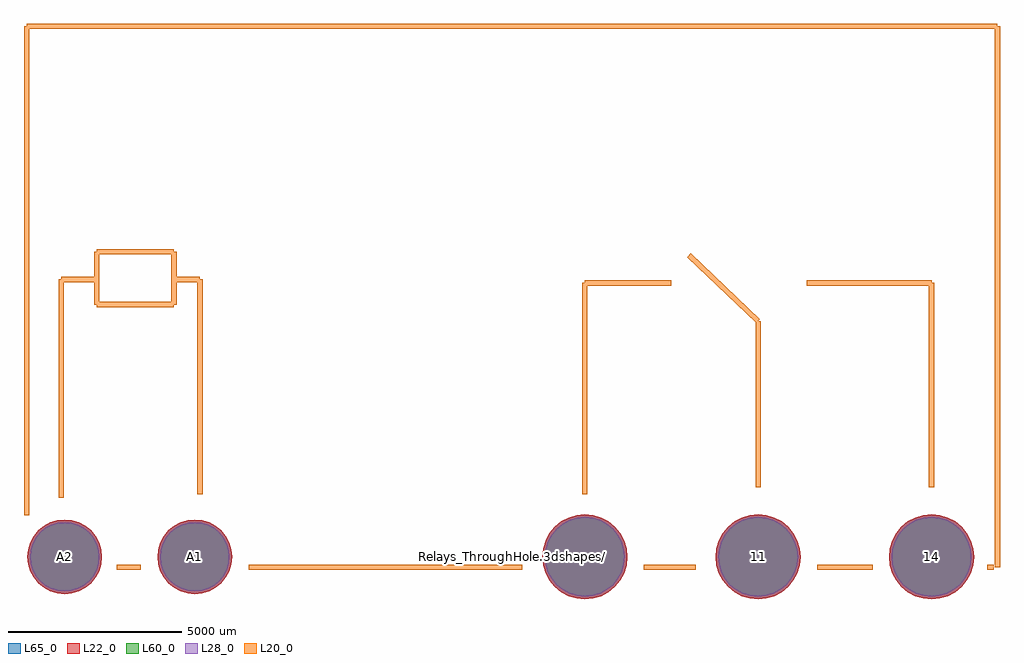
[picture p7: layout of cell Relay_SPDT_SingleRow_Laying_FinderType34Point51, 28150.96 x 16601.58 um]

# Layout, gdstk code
import gdstk
lib = gdstk.Library(unit=1e-6, precision=1e-09)
def P(c, l, *ps):  # polygons
    for p in ps: c.add(gdstk.Polygon(p, *l))
L20_0 = (20, 0)
L22_0 = (22, 0)
L28_0 = (28, 0)
L60_0 = (60, 0)
L65_0 = (65, 0)

relay_spdt_singlerow_lay = lib.new_cell('Relay_SPDT_SingleRow_Laying_FinderType34Point51')
P(relay_spdt_singlerow_lay, L22_0, [(-11826.17,0),(-11846.816,209.623),(-11907.961,411.19),(-12007.254,596.955),(-12140.881,759.779),(-12303.705,893.406),(-12489.47,992.699),(-12691.037,1053.844),(-12900.66,1074.49),(-13110.283,1053.844),(-13311.85,992.699),(-13497.615,893.406),(-13660.439,759.779),(-13794.066,596.955),(-13893.359,411.19),(-13954.504,209.623),(-13975.15,0),(-13954.504,-209.623),(-13893.359,-411.19),(-13794.066,-596.955),(-13660.439,-759.779),(-13497.615,-893.406),(-13311.85,-992.699),(-13110.283,-1053.844),(-12900.66,-1074.49),(-12691.037,-1053.844),(-12489.47,-992.699),(-12303.705,-893.406),(-12140.881,-759.779),(-12007.254,-596.955),(-11907.961,-411.19),(-11846.816,-209.623)],
  [(-8074.59,0),(-8095.236,209.623),(-8156.381,411.19),(-8255.674,596.955),(-8389.301,759.779),(-8552.125,893.406),(-8737.89,992.699),(-8939.457,1053.844),(-9149.08,1074.49),(-9358.703,1053.844),(-9560.27,992.699),(-9746.035,893.406),(-9908.859,759.779),(-10042.486,596.955),(-10141.779,411.19),(-10202.924,209.623),(-10223.57,0),(-10202.924,-209.623),(-10141.779,-411.19),(-10042.486,-596.955),(-9908.859,-759.779),(-9746.035,-893.406),(-9560.27,-992.699),(-9358.703,-1053.844),(-9149.08,-1074.49),(-8939.457,-1053.844),(-8737.89,-992.699),(-8552.125,-893.406),(-8389.301,-759.779),(-8255.674,-596.955),(-8156.381,-411.19),(-8095.236,-209.623)],
  [(3326.2,0),(3302.65,239.107),(3232.905,469.024),(3119.646,680.918),(2967.224,866.644),(2781.498,1019.066),(2569.604,1132.325),(2339.687,1202.07),(2100.58,1225.62),(1861.473,1202.07),(1631.556,1132.325),(1419.662,1019.066),(1233.936,866.644),(1081.514,680.918),(968.255,469.024),(898.51,239.107),(874.96,0),(898.51,-239.107),(968.255,-469.024),(1081.514,-680.918),(1233.936,-866.644),(1419.662,-1019.066),(1631.556,-1132.325),(1861.473,-1202.07),(2100.58,-1225.62),(2339.687,-1202.07),(2569.604,-1132.325),(2781.498,-1019.066),(2967.224,-866.644),(3119.646,-680.918),(3232.905,-469.024),(3302.65,-239.107)],
  [(8324.92,0),(8301.37,239.107),(8231.625,469.024),(8118.366,680.918),(7965.944,866.644),(7780.218,1019.066),(7568.324,1132.325),(7338.407,1202.07),(7099.3,1225.62),(6860.193,1202.07),(6630.276,1132.325),(6418.382,1019.066),(6232.656,866.644),(6080.234,680.918),(5966.975,469.024),(5897.23,239.107),(5873.68,0),(5897.23,-239.107),(5966.975,-469.024),(6080.234,-680.918),(6232.656,-866.644),(6418.382,-1019.066),(6630.276,-1132.325),(6860.193,-1202.07),(7099.3,-1225.62),(7338.407,-1202.07),(7568.324,-1132.325),(7780.218,-1019.066),(7965.944,-866.644),(8118.366,-680.918),(8231.625,-469.024),(8301.37,-239.107)],
  [(13326.18,0),(13302.63,239.107),(13232.885,469.024),(13119.626,680.918),(12967.204,866.644),(12781.478,1019.066),(12569.584,1132.325),(12339.667,1202.07),(12100.56,1225.62),(11861.453,1202.07),(11631.536,1132.325),(11419.642,1019.066),(11233.916,866.644),(11081.494,680.918),(10968.235,469.024),(10898.49,239.107),(10874.94,0),(10898.49,-239.107),(10968.235,-469.024),(11081.494,-680.918),(11233.916,-866.644),(11419.642,-1019.066),(11631.536,-1132.325),(11861.453,-1202.07),(12100.56,-1225.62),(12339.667,-1202.07),(12569.584,-1132.325),(12781.478,-1019.066),(12967.204,-866.644),(13119.626,-680.918),(13232.885,-469.024),(13302.63,-239.107)])
P(relay_spdt_singlerow_lay, L28_0, [(-11901.17,0),(-11920.375,194.991),(-11977.252,382.488),(-12069.614,555.287),(-12193.914,706.746),(-12345.373,831.046),(-12518.172,923.408),(-12705.669,980.285),(-12900.66,999.49),(-13095.651,980.285),(-13283.148,923.408),(-13455.947,831.046),(-13607.406,706.746),(-13731.706,555.287),(-13824.068,382.488),(-13880.945,194.991),(-13900.15,0),(-13880.945,-194.991),(-13824.068,-382.488),(-13731.706,-555.287),(-13607.406,-706.746),(-13455.947,-831.046),(-13283.148,-923.408),(-13095.651,-980.285),(-12900.66,-999.49),(-12705.669,-980.285),(-12518.172,-923.408),(-12345.373,-831.046),(-12193.914,-706.746),(-12069.614,-555.287),(-11977.252,-382.488),(-11920.375,-194.991)],
  [(-8149.59,0),(-8168.795,194.991),(-8225.672,382.488),(-8318.034,555.287),(-8442.334,706.746),(-8593.793,831.046),(-8766.592,923.408),(-8954.089,980.285),(-9149.08,999.49),(-9344.071,980.285),(-9531.568,923.408),(-9704.367,831.046),(-9855.826,706.746),(-9980.126,555.287),(-10072.488,382.488),(-10129.365,194.991),(-10148.57,0),(-10129.365,-194.991),(-10072.488,-382.488),(-9980.126,-555.287),(-9855.826,-706.746),(-9704.367,-831.046),(-9531.568,-923.408),(-9344.071,-980.285),(-9149.08,-999.49),(-8954.089,-980.285),(-8766.592,-923.408),(-8593.793,-831.046),(-8442.334,-706.746),(-8318.034,-555.287),(-8225.672,-382.488),(-8168.795,-194.991)],
  [(3251.2,0),(3229.091,224.475),(3163.614,440.323),(3057.286,639.25),(2914.191,813.611),(2739.83,956.706),(2540.903,1063.034),(2325.055,1128.511),(2100.58,1150.62),(1876.105,1128.511),(1660.257,1063.034),(1461.33,956.706),(1286.969,813.611),(1143.874,639.25),(1037.546,440.323),(972.069,224.475),(949.96,0),(972.069,-224.475),(1037.546,-440.323),(1143.874,-639.25),(1286.969,-813.611),(1461.33,-956.706),(1660.257,-1063.034),(1876.105,-1128.511),(2100.58,-1150.62),(2325.055,-1128.511),(2540.903,-1063.034),(2739.83,-956.706),(2914.191,-813.611),(3057.286,-639.25),(3163.614,-440.323),(3229.091,-224.475)],
  [(8249.92,0),(8227.811,224.475),(8162.334,440.323),(8056.006,639.25),(7912.911,813.611),(7738.55,956.706),(7539.623,1063.034),(7323.775,1128.511),(7099.3,1150.62),(6874.825,1128.511),(6658.977,1063.034),(6460.05,956.706),(6285.689,813.611),(6142.594,639.25),(6036.266,440.323),(5970.789,224.475),(5948.68,0),(5970.789,-224.475),(6036.266,-440.323),(6142.594,-639.25),(6285.689,-813.611),(6460.05,-956.706),(6658.977,-1063.034),(6874.825,-1128.511),(7099.3,-1150.62),(7323.775,-1128.511),(7539.623,-1063.034),(7738.55,-956.706),(7912.911,-813.611),(8056.006,-639.25),(8162.334,-440.323),(8227.811,-224.475)],
  [(13251.18,0),(13229.071,224.475),(13163.594,440.323),(13057.266,639.25),(12914.171,813.611),(12739.81,956.706),(12540.883,1063.034),(12325.035,1128.511),(12100.56,1150.62),(11876.085,1128.511),(11660.237,1063.034),(11461.31,956.706),(11286.949,813.611),(11143.854,639.25),(11037.526,440.323),(10972.049,224.475),(10949.94,0),(10972.049,-224.475),(11037.526,-440.323),(11143.854,-639.25),(11286.949,-813.611),(11461.31,-956.706),(11660.237,-1063.034),(11876.085,-1128.511),(12100.56,-1150.62),(12325.035,-1128.511),(12540.883,-1063.034),(12739.81,-956.706),(12914.171,-813.611),(13057.266,-639.25),(13163.594,-440.323),(13229.071,-224.475)])
P(relay_spdt_singlerow_lay, L60_0, [(-11901.17,0),(-11920.375,194.991),(-11977.252,382.488),(-12069.614,555.287),(-12193.914,706.746),(-12345.373,831.046),(-12518.172,923.408),(-12705.669,980.285),(-12900.66,999.49),(-13095.651,980.285),(-13283.148,923.408),(-13455.947,831.046),(-13607.406,706.746),(-13731.706,555.287),(-13824.068,382.488),(-13880.945,194.991),(-13900.15,0),(-13880.945,-194.991),(-13824.068,-382.488),(-13731.706,-555.287),(-13607.406,-706.746),(-13455.947,-831.046),(-13283.148,-923.408),(-13095.651,-980.285),(-12900.66,-999.49),(-12705.669,-980.285),(-12518.172,-923.408),(-12345.373,-831.046),(-12193.914,-706.746),(-12069.614,-555.287),(-11977.252,-382.488),(-11920.375,-194.991)],
  [(-8149.59,0),(-8168.795,194.991),(-8225.672,382.488),(-8318.034,555.287),(-8442.334,706.746),(-8593.793,831.046),(-8766.592,923.408),(-8954.089,980.285),(-9149.08,999.49),(-9344.071,980.285),(-9531.568,923.408),(-9704.367,831.046),(-9855.826,706.746),(-9980.126,555.287),(-10072.488,382.488),(-10129.365,194.991),(-10148.57,0),(-10129.365,-194.991),(-10072.488,-382.488),(-9980.126,-555.287),(-9855.826,-706.746),(-9704.367,-831.046),(-9531.568,-923.408),(-9344.071,-980.285),(-9149.08,-999.49),(-8954.089,-980.285),(-8766.592,-923.408),(-8593.793,-831.046),(-8442.334,-706.746),(-8318.034,-555.287),(-8225.672,-382.488),(-8168.795,-194.991)],
  [(3251.2,0),(3229.091,224.475),(3163.614,440.323),(3057.286,639.25),(2914.191,813.611),(2739.83,956.706),(2540.903,1063.034),(2325.055,1128.511),(2100.58,1150.62),(1876.105,1128.511),(1660.257,1063.034),(1461.33,956.706),(1286.969,813.611),(1143.874,639.25),(1037.546,440.323),(972.069,224.475),(949.96,0),(972.069,-224.475),(1037.546,-440.323),(1143.874,-639.25),(1286.969,-813.611),(1461.33,-956.706),(1660.257,-1063.034),(1876.105,-1128.511),(2100.58,-1150.62),(2325.055,-1128.511),(2540.903,-1063.034),(2739.83,-956.706),(2914.191,-813.611),(3057.286,-639.25),(3163.614,-440.323),(3229.091,-224.475)],
  [(8249.92,0),(8227.811,224.475),(8162.334,440.323),(8056.006,639.25),(7912.911,813.611),(7738.55,956.706),(7539.623,1063.034),(7323.775,1128.511),(7099.3,1150.62),(6874.825,1128.511),(6658.977,1063.034),(6460.05,956.706),(6285.689,813.611),(6142.594,639.25),(6036.266,440.323),(5970.789,224.475),(5948.68,0),(5970.789,-224.475),(6036.266,-440.323),(6142.594,-639.25),(6285.689,-813.611),(6460.05,-956.706),(6658.977,-1063.034),(6874.825,-1128.511),(7099.3,-1150.62),(7323.775,-1128.511),(7539.623,-1063.034),(7738.55,-956.706),(7912.911,-813.611),(8056.006,-639.25),(8162.334,-440.323),(8227.811,-224.475)],
  [(13251.18,0),(13229.071,224.475),(13163.594,440.323),(13057.266,639.25),(12914.171,813.611),(12739.81,956.706),(12540.883,1063.034),(12325.035,1128.511),(12100.56,1150.62),(11876.085,1128.511),(11660.237,1063.034),(11461.31,956.706),(11286.949,813.611),(11143.854,639.25),(11037.526,440.323),(10972.049,224.475),(10949.94,0),(10972.049,-224.475),(11037.526,-440.323),(11143.854,-639.25),(11286.949,-813.611),(11461.31,-956.706),(11660.237,-1063.034),(11876.085,-1128.511),(12100.56,-1150.62),(12325.035,-1128.511),(12540.883,-1063.034),(12739.81,-956.706),(12914.171,-813.611),(13057.266,-639.25),(13163.594,-440.323),(13229.071,-224.475)])
P(relay_spdt_singlerow_lay, L65_0, [(-11826.17,0),(-11846.816,209.623),(-11907.961,411.19),(-12007.254,596.955),(-12140.881,759.779),(-12303.705,893.406),(-12489.47,992.699),(-12691.037,1053.844),(-12900.66,1074.49),(-13110.283,1053.844),(-13311.85,992.699),(-13497.615,893.406),(-13660.439,759.779),(-13794.066,596.955),(-13893.359,411.19),(-13954.504,209.623),(-13975.15,0),(-13954.504,-209.623),(-13893.359,-411.19),(-13794.066,-596.955),(-13660.439,-759.779),(-13497.615,-893.406),(-13311.85,-992.699),(-13110.283,-1053.844),(-12900.66,-1074.49),(-12691.037,-1053.844),(-12489.47,-992.699),(-12303.705,-893.406),(-12140.881,-759.779),(-12007.254,-596.955),(-11907.961,-411.19),(-11846.816,-209.623)],
  [(-8074.59,0),(-8095.236,209.623),(-8156.381,411.19),(-8255.674,596.955),(-8389.301,759.779),(-8552.125,893.406),(-8737.89,992.699),(-8939.457,1053.844),(-9149.08,1074.49),(-9358.703,1053.844),(-9560.27,992.699),(-9746.035,893.406),(-9908.859,759.779),(-10042.486,596.955),(-10141.779,411.19),(-10202.924,209.623),(-10223.57,0),(-10202.924,-209.623),(-10141.779,-411.19),(-10042.486,-596.955),(-9908.859,-759.779),(-9746.035,-893.406),(-9560.27,-992.699),(-9358.703,-1053.844),(-9149.08,-1074.49),(-8939.457,-1053.844),(-8737.89,-992.699),(-8552.125,-893.406),(-8389.301,-759.779),(-8255.674,-596.955),(-8156.381,-411.19),(-8095.236,-209.623)],
  [(3326.2,0),(3302.65,239.107),(3232.905,469.024),(3119.646,680.918),(2967.224,866.644),(2781.498,1019.066),(2569.604,1132.325),(2339.687,1202.07),(2100.58,1225.62),(1861.473,1202.07),(1631.556,1132.325),(1419.662,1019.066),(1233.936,866.644),(1081.514,680.918),(968.255,469.024),(898.51,239.107),(874.96,0),(898.51,-239.107),(968.255,-469.024),(1081.514,-680.918),(1233.936,-866.644),(1419.662,-1019.066),(1631.556,-1132.325),(1861.473,-1202.07),(2100.58,-1225.62),(2339.687,-1202.07),(2569.604,-1132.325),(2781.498,-1019.066),(2967.224,-866.644),(3119.646,-680.918),(3232.905,-469.024),(3302.65,-239.107)],
  [(8324.92,0),(8301.37,239.107),(8231.625,469.024),(8118.366,680.918),(7965.944,866.644),(7780.218,1019.066),(7568.324,1132.325),(7338.407,1202.07),(7099.3,1225.62),(6860.193,1202.07),(6630.276,1132.325),(6418.382,1019.066),(6232.656,866.644),(6080.234,680.918),(5966.975,469.024),(5897.23,239.107),(5873.68,0),(5897.23,-239.107),(5966.975,-469.024),(6080.234,-680.918),(6232.656,-866.644),(6418.382,-1019.066),(6630.276,-1132.325),(6860.193,-1202.07),(7099.3,-1225.62),(7338.407,-1202.07),(7568.324,-1132.325),(7780.218,-1019.066),(7965.944,-866.644),(8118.366,-680.918),(8231.625,-469.024),(8301.37,-239.107)],
  [(13326.18,0),(13302.63,239.107),(13232.885,469.024),(13119.626,680.918),(12967.204,866.644),(12781.478,1019.066),(12569.584,1132.325),(12339.667,1202.07),(12100.56,1225.62),(11861.453,1202.07),(11631.536,1132.325),(11419.642,1019.066),(11233.916,866.644),(11081.494,680.918),(10968.235,469.024),(10898.49,239.107),(10874.94,0),(10898.49,-239.107),(10968.235,-469.024),(11081.494,-680.918),(11233.916,-866.644),(11419.642,-1019.066),(11631.536,-1132.325),(11861.453,-1202.07),(12100.56,-1225.62),(12339.667,-1202.07),(12569.584,-1132.325),(12781.478,-1019.066),(12967.204,-866.644),(13119.626,-680.918),(13232.885,-469.024),(13302.63,-239.107)])
relay_spdt_singlerow_lay.add(gdstk.FlexPath([(-9751.06,7274.56),(-9751.06,8201.66)], 149.998, ends="flush", simple_path=True, layer=20, datatype=0))  # L20_0
relay_spdt_singlerow_lay.add(gdstk.FlexPath([(-11976.1,7274.56),(-9751.06,7274.56)], 149.998, ends="flush", simple_path=True, layer=20, datatype=0))  # L20_0
relay_spdt_singlerow_lay.add(gdstk.FlexPath([(-11976.1,8801.1),(-11976.1,7274.56)], 149.998, ends="flush", simple_path=True, layer=20, datatype=0))  # L20_0
relay_spdt_singlerow_lay.add(gdstk.FlexPath([(-9751.06,8801.1),(-11976.1,8801.1)], 149.998, ends="flush", simple_path=True, layer=20, datatype=0))  # L20_0
relay_spdt_singlerow_lay.add(gdstk.FlexPath([(-9751.06,8150.86),(-9751.06,8801.1)], 149.998, ends="flush", simple_path=True, layer=20, datatype=0))  # L20_0
relay_spdt_singlerow_lay.add(gdstk.FlexPath([(-14000.48,15300.96),(-14000.48,1198.88)], 149.998, ends="flush", simple_path=True, layer=20, datatype=0))  # L20_0
relay_spdt_singlerow_lay.add(gdstk.FlexPath([(14000.48,15300.96),(-14000.48,15300.96)], 149.998, ends="flush", simple_path=True, layer=20, datatype=0))  # L20_0
relay_spdt_singlerow_lay.add(gdstk.FlexPath([(13898.88,-299.72),(13700.76,-299.72)], 149.998, ends="flush", simple_path=True, layer=20, datatype=0))  # L20_0
relay_spdt_singlerow_lay.add(gdstk.FlexPath([(10398.76,-299.72),(8801.1,-299.72)], 149.998, ends="flush", simple_path=True, layer=20, datatype=0))  # L20_0
relay_spdt_singlerow_lay.add(gdstk.FlexPath([(5300.98,-299.72),(3799.84,-299.72)], 149.998, ends="flush", simple_path=True, layer=20, datatype=0))  # L20_0
relay_spdt_singlerow_lay.add(gdstk.FlexPath([(299.72,-299.72),(-7599.68,-299.72)], 149.998, ends="flush", simple_path=True, layer=20, datatype=0))  # L20_0
relay_spdt_singlerow_lay.add(gdstk.FlexPath([(-10701.02,-299.72),(-11399.52,-299.72)], 149.998, ends="flush", simple_path=True, layer=20, datatype=0))  # L20_0
relay_spdt_singlerow_lay.add(gdstk.FlexPath([(14000.48,15300.96),(14000.48,-299.72)], 149.998, ends="flush", simple_path=True, layer=20, datatype=0))  # L20_0
relay_spdt_singlerow_lay.add(gdstk.FlexPath([(7099.3,6799.58),(5100.32,8699.5)], 149.998, ends="flush", simple_path=True, layer=20, datatype=0))  # L20_0
relay_spdt_singlerow_lay.add(gdstk.FlexPath([(7099.3,1998.98),(7099.3,6799.58)], 149.998, ends="flush", simple_path=True, layer=20, datatype=0))  # L20_0
relay_spdt_singlerow_lay.add(gdstk.FlexPath([(2100.58,7899.4),(2100.58,1800.86)], 149.998, ends="flush", simple_path=True, layer=20, datatype=0))  # L20_0
relay_spdt_singlerow_lay.add(gdstk.FlexPath([(4599.94,7899.4),(2100.58,7899.4)], 149.998, ends="flush", simple_path=True, layer=20, datatype=0))  # L20_0
relay_spdt_singlerow_lay.add(gdstk.FlexPath([(12100.56,7899.4),(12100.56,1998.98)], 149.998, ends="flush", simple_path=True, layer=20, datatype=0))  # L20_0
relay_spdt_singlerow_lay.add(gdstk.FlexPath([(8498.84,7899.4),(12100.56,7899.4)], 149.998, ends="flush", simple_path=True, layer=20, datatype=0))  # L20_0
relay_spdt_singlerow_lay.add(gdstk.FlexPath([(-8999.22,8001),(-8999.22,1800.86)], 149.998, ends="flush", simple_path=True, layer=20, datatype=0))  # L20_0
relay_spdt_singlerow_lay.add(gdstk.FlexPath([(-9799.32,8001),(-8999.22,8001)], 149.998, ends="flush", simple_path=True, layer=20, datatype=0))  # L20_0
relay_spdt_singlerow_lay.add(gdstk.FlexPath([(-12999.72,8001),(-12999.72,1699.26)], 149.998, ends="flush", simple_path=True, layer=20, datatype=0))  # L20_0
relay_spdt_singlerow_lay.add(gdstk.FlexPath([(-11998.96,8001),(-12999.72,8001)], 149.998, ends="flush", simple_path=True, layer=20, datatype=0))  # L20_0
relay_spdt_singlerow_lay.add(gdstk.Label('Relays_ThroughHole.3dshapes/Relay_SPDT_SingleRow_Laying_FinderType34Point51.wrl', (0,0), layer=12, texttype=0))
relay_spdt_singlerow_lay.add(gdstk.Label('A2', (-12900.66,0), layer=28, texttype=0))
relay_spdt_singlerow_lay.add(gdstk.Label('A1', (-9149.08,0), layer=28, texttype=0))
relay_spdt_singlerow_lay.add(gdstk.Label('12', (2100.58,0), layer=28, texttype=0))
relay_spdt_singlerow_lay.add(gdstk.Label('11', (7099.3,0), layer=28, texttype=0))
relay_spdt_singlerow_lay.add(gdstk.Label('14', (12100.56,0), layer=28, texttype=0))
relay_spdt_singlerow_lay.add(gdstk.Label('C', (7223.76,-2100.58), layer=9, texttype=0))
relay_spdt_singlerow_lay.add(gdstk.Label('NO', (12148.82,-2123.44), layer=9, texttype=0))
relay_spdt_singlerow_lay.add(gdstk.Label('NC', (2098.04,-2148.84), layer=9, texttype=0))
relay_spdt_singlerow_lay.add(gdstk.Label('A1', (-9250.68,-2148.84), layer=9, texttype=0))
relay_spdt_singlerow_lay.add(gdstk.Label('A2', (-13101.32,-2197.1), layer=9, texttype=0))
relay_spdt_singlerow_lay.add(gdstk.Label('type', (1270,-5080), layer=9, texttype=0))
relay_spdt_singlerow_lay.add(gdstk.Label('devicename', (0,16510), layer=9, texttype=0))

lib.write_gds('Relay_SPDT_SingleRow_Laying_FinderType34Point51.gds')
